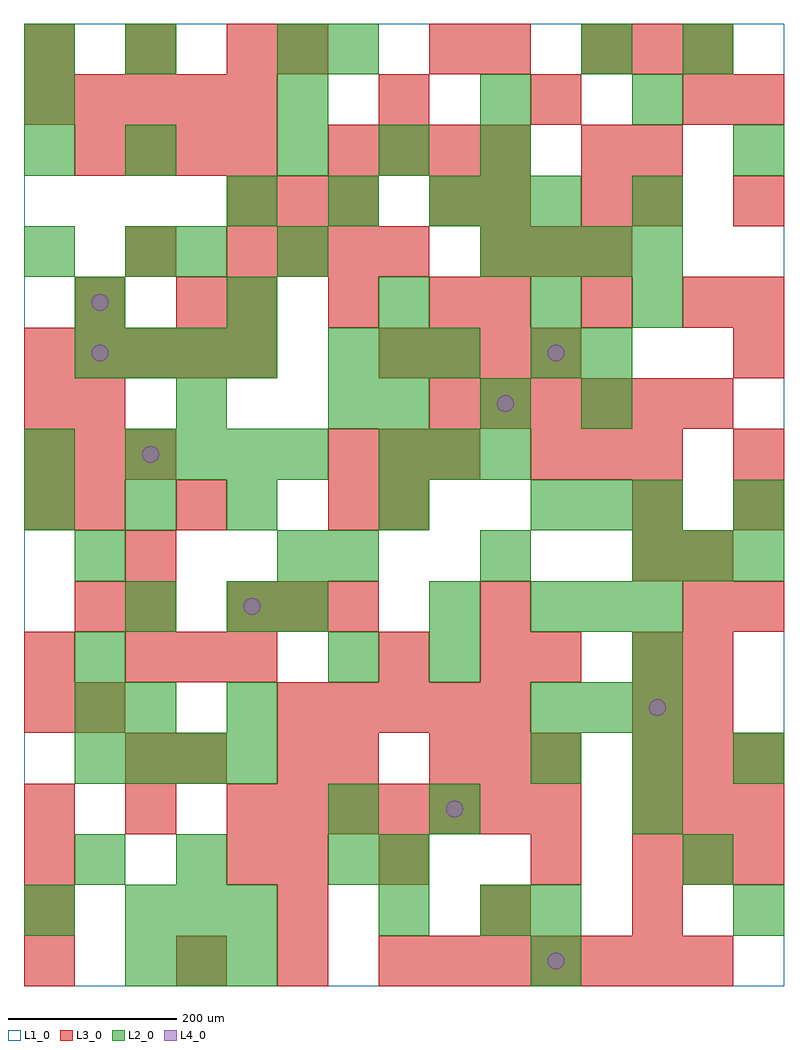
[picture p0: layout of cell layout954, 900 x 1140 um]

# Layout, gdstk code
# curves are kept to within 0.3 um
import gdstk
lib = gdstk.Library(unit=1e-6, precision=1e-09)
def R(c, l, rs):  # rectangles x0, y0, x1, y1
    for r in rs: c.add(gdstk.rectangle(r[:2], r[2:], *l))
def A(c, l, x, y, w, h, nx, ny, dx, dy):  # array of equal rectangles
    R(c, l, [(x+i*dx, y+j*dy, x+i*dx+w, y+j*dy+h) for i in range(nx) for j in range(ny)])
def P(c, l, *ps):  # polygons
    for p in ps: c.add(gdstk.Polygon(p, *l))
L1_0 = (1, 0)
L2_0 = (2, 0)
L3_0 = (3, 0)
L4_0 = (4, 0)

layout954 = lib.new_cell('layout954')
R(layout954, L1_0, [(0,0,900,1140)])
A(layout954, L2_0, 120, 0, 60, 60, 3, 2, 60, 60)
A(layout954, L2_0, 60, 240, 60, 60, 4, 2, 60, 480)
A(layout954, L2_0, 600, 240, 60, 60, 3, 1, 120, 0)
A(layout954, L2_0, 600, 300, 60, 60, 3, 3, 60, 120)
A(layout954, L2_0, 360, 480, 60, 60, 3, 1, 180, 0)
A(layout954, L2_0, 0, 540, 60, 60, 3, 1, 120, 0)
A(layout954, L2_0, 120, 600, 60, 60, 4, 1, 60, 0)
A(layout954, L2_0, 420, 600, 60, 60, 3, 1, 60, 0)
A(layout954, L2_0, 420, 660, 60, 60, 3, 1, 120, 0)
A(layout954, L2_0, 360, 720, 60, 60, 3, 1, 60, 0)
A(layout954, L2_0, 60, 780, 60, 60, 4, 1, 180, 0)
A(layout954, L2_0, 720, 780, 60, 60, 1, 3, 0, 120)
A(layout954, L2_0, 120, 840, 60, 60, 1, 3, 0, 120)
A(layout954, L2_0, 540, 840, 60, 60, 4, 1, 60, 0)
A(layout954, L2_0, 240, 900, 60, 60, 3, 1, 120, 0)
A(layout954, L2_0, 0, 960, 60, 60, 1, 3, 0, 60)
A(layout954, L2_0, 300, 960, 60, 60, 3, 1, 120, 0)
R(layout954, L2_0, [(600,0,660,60), (0,60,60,120), (420,60,480,120), (540,60,600,120), (600,60,660,120), (840,60,900,120), (60,120,120,180), (180,120,240,180), (360,120,420,180), (420,120,480,180), (780,120,840,180), (360,180,420,240), (480,180,540,240), (720,180,780,240), (60,300,120,360), (120,300,180,360), (240,300,300,360), (60,360,120,420), (360,360,420,420), (480,360,540,420), (720,360,780,420), (120,420,180,480), (240,420,300,480), (300,420,360,480), (480,420,540,480), (60,480,120,540), (300,480,360,540), (780,480,840,540), (840,480,900,540), (420,540,480,600), (840,540,900,600), (0,600,60,660), (180,660,240,720), (360,660,420,720), (600,720,660,780), (660,720,720,780), (0,840,60,900), (180,840,240,900), (300,840,360,900), (540,900,600,960), (600,900,660,960), (840,960,900,1020), (300,1020,360,1080), (540,1020,600,1080), (300,1080,360,1140), (360,1080,420,1140), (660,1080,720,1140), (780,1080,840,1140)])
A(layout954, L3_0, 0, 0, 60, 60, 1, 3, 0, 60)
A(layout954, L3_0, 180, 0, 60, 60, 3, 1, 120, 0)
A(layout954, L3_0, 480, 0, 60, 60, 6, 2, 60, 660)
A(layout954, L3_0, 720, 120, 60, 60, 3, 3, 60, 60)
A(layout954, L3_0, 0, 180, 60, 60, 3, 2, 120, 900)
A(layout954, L3_0, 300, 180, 60, 60, 6, 1, 60, 0)
A(layout954, L3_0, 480, 240, 60, 60, 3, 1, 60, 0)
A(layout954, L3_0, 60, 300, 60, 60, 1, 5, 0, 120)
A(layout954, L3_0, 300, 300, 60, 60, 5, 1, 60, 0)
A(layout954, L3_0, 780, 300, 60, 60, 1, 4, 0, 60)
A(layout954, L3_0, 120, 360, 60, 60, 3, 1, 60, 0)
A(layout954, L3_0, 240, 420, 60, 60, 3, 2, 60, 480)
A(layout954, L3_0, 0, 600, 60, 60, 3, 1, 60, 0)
A(layout954, L3_0, 360, 600, 60, 60, 3, 1, 60, 0)
A(layout954, L3_0, 600, 600, 60, 60, 3, 1, 60, 0)
A(layout954, L3_0, 0, 720, 60, 60, 5, 2, 60, 300)
A(layout954, L3_0, 420, 720, 60, 60, 4, 1, 60, 0)
A(layout954, L3_0, 240, 780, 60, 60, 3, 1, 120, 0)
A(layout954, L3_0, 540, 780, 60, 60, 3, 1, 120, 0)
A(layout954, L3_0, 840, 780, 60, 60, 1, 3, 0, 120)
A(layout954, L3_0, 240, 840, 60, 60, 4, 1, 60, 0)
A(layout954, L3_0, 540, 840, 60, 60, 3, 1, 60, 0)
A(layout954, L3_0, 60, 960, 60, 60, 4, 1, 60, 0)
A(layout954, L3_0, 360, 960, 60, 60, 4, 1, 60, 0)
A(layout954, L3_0, 420, 1020, 60, 60, 3, 1, 180, 0)
A(layout954, L3_0, 660, 1080, 60, 60, 3, 1, 60, 0)
R(layout954, L3_0, [(300,60,360,120), (540,60,600,120), (720,60,780,120), (240,120,300,180), (300,120,360,180), (420,120,480,180), (600,120,660,180), (120,240,180,300), (180,240,240,300), (300,240,360,300), (360,240,420,300), (0,300,60,360), (720,300,780,360), (0,360,60,420), (420,360,480,420), (540,360,600,420), (600,360,660,420), (720,360,780,420), (120,420,180,480), (540,420,600,480), (840,420,900,480), (120,480,180,540), (720,480,780,540), (0,540,60,600), (180,540,240,600), (360,540,420,600), (420,540,480,600), (720,540,780,600), (840,540,900,600), (840,600,900,660), (0,660,60,720), (840,720,900,780), (180,780,240,840), (120,840,180,900), (480,900,540,960), (540,900,600,960), (660,900,720,960), (720,900,780,960), (660,960,720,1020), (720,960,780,1020), (300,1080,360,1140), (480,1080,540,1140), (540,1080,600,1140)])
P(layout954, L4_0, [(100,750),(99.239,753.827),(97.071,757.071),(93.827,759.239),(90,760),(86.173,759.239),(82.929,757.071),(80.761,753.827),(80,750),(80.761,746.173),(82.929,742.929),(86.173,740.761),(90,740),(93.827,740.761),(97.071,742.929),(99.239,746.173)],
  [(100,810),(99.239,813.827),(97.071,817.071),(93.827,819.239),(90,820),(86.173,819.239),(82.929,817.071),(80.761,813.827),(80,810),(80.761,806.173),(82.929,802.929),(86.173,800.761),(90,800),(93.827,800.761),(97.071,802.929),(99.239,806.173)],
  [(160,630),(159.239,633.827),(157.071,637.071),(153.827,639.239),(150,640),(146.173,639.239),(142.929,637.071),(140.761,633.827),(140,630),(140.761,626.173),(142.929,622.929),(146.173,620.761),(150,620),(153.827,620.761),(157.071,622.929),(159.239,626.173)],
  [(280,450),(279.239,453.827),(277.071,457.071),(273.827,459.239),(270,460),(266.173,459.239),(262.929,457.071),(260.761,453.827),(260,450),(260.761,446.173),(262.929,442.929),(266.173,440.761),(270,440),(273.827,440.761),(277.071,442.929),(279.239,446.173)],
  [(520,210),(519.239,213.827),(517.071,217.071),(513.827,219.239),(510,220),(506.173,219.239),(502.929,217.071),(500.761,213.827),(500,210),(500.761,206.173),(502.929,202.929),(506.173,200.761),(510,200),(513.827,200.761),(517.071,202.929),(519.239,206.173)],
  [(580,690),(579.239,693.827),(577.071,697.071),(573.827,699.239),(570,700),(566.173,699.239),(562.929,697.071),(560.761,693.827),(560,690),(560.761,686.173),(562.929,682.929),(566.173,680.761),(570,680),(573.827,680.761),(577.071,682.929),(579.239,686.173)],
  [(640,30),(639.239,33.827),(637.071,37.071),(633.827,39.239),(630,40),(626.173,39.239),(622.929,37.071),(620.761,33.827),(620,30),(620.761,26.173),(622.929,22.929),(626.173,20.761),(630,20),(633.827,20.761),(637.071,22.929),(639.239,26.173)],
  [(640,750),(639.239,753.827),(637.071,757.071),(633.827,759.239),(630,760),(626.173,759.239),(622.929,757.071),(620.761,753.827),(620,750),(620.761,746.173),(622.929,742.929),(626.173,740.761),(630,740),(633.827,740.761),(637.071,742.929),(639.239,746.173)],
  [(760,330),(759.239,333.827),(757.071,337.071),(753.827,339.239),(750,340),(746.173,339.239),(742.929,337.071),(740.761,333.827),(740,330),(740.761,326.173),(742.929,322.929),(746.173,320.761),(750,320),(753.827,320.761),(757.071,322.929),(759.239,326.173)])

lib.write_gds('layout954.gds')
